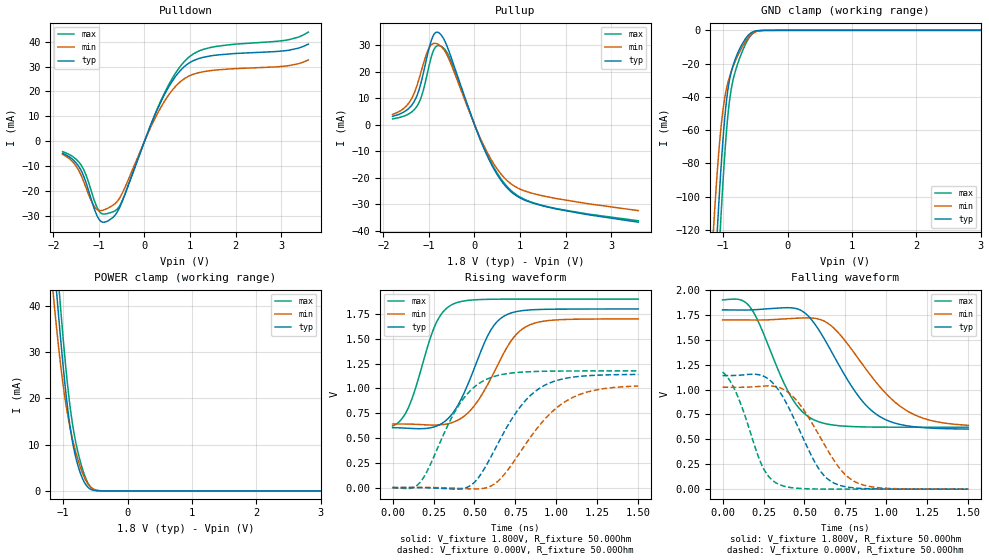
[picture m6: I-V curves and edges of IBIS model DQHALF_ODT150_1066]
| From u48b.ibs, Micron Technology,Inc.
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|MODEL DQHALF_ODT150_1066 (Reduced-Drv IO Drvr with 150-ohm ODT Submodel,800/1066)
[Model]   DQHALF_ODT150_1066
Model_type   I/O
Vinl = 700.000mV
Vinh = 1.10V
Vmeas = 900.000mV
Vref = 900.000mV
Cref = 0.0pF
Rref = 25.000Ohm
|   typ   min   max
C_comp   3.09pF   2.91pF   3.33pF
| Note: C_comp decreases when the ODT circuit is enabled.
[Model Spec]
| Input threshold voltage corners
Vinl   0.70V   0.650V   0.750V
Vinh   1.10V   1.05V   1.150V
| Measurement voltage corners
Vmeas   0.900V   0.850V   0.950V
| Timing spec test load voltage corners
Vref   0.900V   0.850V   0.950V
[Receiver Thresholds]
Vth   =  0.900V
Vth_min  =  0.882V
Vth_max  =  0.918V
Vinh_ac  =  0.200V
Vinh_dc  =  0.125V
Vinl_ac  = -0.200V
Vinl_dc  = -0.125V
Tslew_ac =  5.000ns |Not specified, so set to high value
Threshold_sensitivity = 0.50
Reference_supply Pullup_ref
[Voltage Range]   1.800V   1.700V   1.900V
[Pullup Reference]   1.800V   1.700V   1.900V
| Junction Temperature (Ambient temp is 25C typ, 85C min, 0C max)
[Temperature Range]   40.0   100.0   0.0
[Add Submodel]
| Submodel Name   Mode
150ohm_ODT_1066   Non-Driving
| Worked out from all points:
|   slope of the pulldown table from 0 to 0.27 V, typ, clamps not added: 22 ohm
|   slope of the pullup table from 0 to 0.27 V, typ, clamps not added: 23.7 ohm
|   GND clamp passes 1 mA (typ) near -0.54 V on its own axis
|   POWER clamp passes 1 mA (typ) near -0.63 V on its own axis
|   falling waveform, V_fixture 1.800V, R_fixture 50.00Ohm: 20-80 % time 274ps typ, 320ps min, 209ps max; typ from 1.8 V to 0.603 V
|   rising waveform, V_fixture 1.800V, R_fixture 50.00Ohm: 20-80 % time 188ps typ, 216ps min, 148ps max; typ from 0.603 V to 1.8 V
|   rising waveform, V_fixture 0.000V, R_fixture 50.00Ohm: 20-80 % time 258ps typ, 298ps min, 223ps max; typ from 0 V to 1.14 V
|   falling waveform, V_fixture 0.000V, R_fixture 50.00Ohm: 20-80 % time 205ps typ, 231ps min, 151ps max; typ from 1.14 V to 0 V
[Pulldown]
|   Voltage   I(typ)   I(min)   I(max)
-1.8V     -4.83mA    -5.264mA   -4.162mA
-1.4V     -11.48mA   -13.38mA   -9.375mA
-1.08V    -28.28mA   -26.76mA   -24.91mA
-960mV    -32.11mA   -27.84mA   -28.79mA
-830mV    -32.21mA   -27.08mA   -29.08mA
-510mV    -25.06mA   -21.64mA   -24.73mA
290mV     13.08mA    11.28mA    13.41mA
620mV     24.41mA    20.73mA    25.53mA
885mV     30.12mA    25.22mA    32.19mA
1.46V     34.29mA    28.38mA    37.69mA
3.095V    36.36mA    30.18mA    40.53mA
3.6V      39mA       32.63mA    43.82mA
[GND Clamp]
|   Voltage   I(typ)   I(min)   I(max)
-1.8V     -732.2mA   -653.2mA   -793.5mA
-1.15V    -163.6mA   -119.6mA   -201.6mA
-1.095V   -123.2mA   -87.04mA   -157.4mA
-1.08V    -112.7mA   -79.18mA   -145.9mA
-1.04V    -86.82mA   -60.98mA   -116.4mA
-1V       -64.38mA   -47.13mA   -89.59mA
-955mV    -44.8mA    -36.41mA   -64.06mA
-920mV    -34.11mA   -30.56mA   -48.74mA
-880mV    -25.98mA   -25.44mA   -36.67mA
-750mV    -11.65mA   -13.34mA   -17.4mA
-550mV    -1.151mA   -2.12mA    -2.194mA
3.6V      0A         0A         0A
[Pullup]
|   Voltage   I(typ)   I(min)   I(max)
-1.8V     3.119mA    3.847mA    2.154mA
-1.48V    5.592mA    7.369mA    3.728mA
-1.26V    11.1mA     14.96mA    7.081mA
-1.14V    18.21mA    22mA       12.01mA
-1.01V    28.03mA    28.53mA    21.35mA
-890mV    34.13mA    30.7mA     28.42mA
-790mV    34.78mA    30.25mA    29.86mA
-560mV    27.67mA    24.72mA    25.72mA
240mV     -10.31mA   -9.185mA   -9.955mA
740mV     -24.33mA   -21.5mA    -23.81mA
1.495V    -30.66mA   -26.87mA   -30.54mA
3.6V      -36.85mA   -32.48mA   -36.31mA
[POWER Clamp]
|   Voltage   I(typ)   I(min)   I(max)
-1.8V     174.6mA    152.7mA    190.2mA
-1.15V    51.11mA    41.91mA    59.19mA
-1.09V    40.94mA    33.55mA    48.23mA
-1.06V    36.07mA    29.7mA     42.94mA
-1.05V    34.49mA    28.47mA    41.22mA
-950mV    20.21mA    18.05mA    25.43mA
-900mV    14.59mA    14.13mA    19.05mA
-850mV    10.23mA    10.9mA     14.03mA
-720mV    3.389mA    4.604mA    5.675mA
-580mV    409.5uA    919.6uA    940.6uA
-390mV    3.406uA    23.22uA    5.527uA
3.6V      0A         0A         0A
[Ramp]
R_load = 50.00Ohm
|   typ   min   max
dV/dt_r   684.091mV/258.115ps 614.143mV/297.467ps 705.583mV/222.831ps
dV/dt_f   718.092mV/273.904ps 635.507mV/319.538ps 767.167mV/208.828ps
[Falling Waveform]
V_fixture = 1.800V
V_fixture_min = 1.700V
V_fixture_max = 1.900V
R_fixture = 50.00Ohm
|   Time   V(typ)   V(min)   V(max)
0s        1.8V       1.7V       1.9V
110ps     1.798V     1.699V     1.9V
170ps     1.8V       1.699V     1.824V
410ps     1.821V     1.712V     950.9mV
550ps     1.686V     1.718V     702.4mV
700ps     1.276V     1.582V     638.9mV
820ps     954.6mV    1.33V      626.9mV
940ps     749.8mV    1.067V     623.2mV
1.17ns    626.5mV    748mV      621.6mV
1.5ns     603.2mV    640.8mV    621.4mV
[Rising Waveform]
V_fixture = 1.800V
V_fixture_min = 1.700V
V_fixture_max = 1.900V
R_fixture = 50.00Ohm
|   Time   V(typ)   V(min)   V(max)
0s        603.2mV    640.8mV    621.4mV
90ps      598.4mV    640.2mV    782mV
250ps     610mV      629.9mV    1.597V
360ps     734.2mV    653.5mV    1.841V
500ps     1.207V     827.1mV    1.892V
600ps     1.589V     1.099V     1.898V
680ps     1.728V     1.359V     1.899V
770ps     1.778V     1.568V     1.9V
880ps     1.794V     1.663V     1.9V
1.5ns     1.8V       1.7V       1.9V
[Rising Waveform]
V_fixture = 0.000V
V_fixture_min = 0.000V
V_fixture_max = 0.000V
R_fixture = 50.00Ohm
|   Time   V(typ)   V(min)   V(max)
0s        -4.176uV   -5.098uV   -4.199uV
170ps     -37.67uV   1.171mV    56.53mV
400ps     -15.99mV   -7.313mV   818.6mV
480ps     25.22mV    -13.48mV   985.7mV
570ps     218.5mV    -2.741mV   1.089V
660ps     496.5mV    91.73mV    1.137V
760ps     771.3mV    310.8mV    1.16V
900ps     1.004V     633.9mV    1.171V
1.14ns    1.121V     936.9mV    1.175V
1.5ns     1.14V      1.024V     1.176V
[Falling Waveform]
V_fixture = 0.000V
V_fixture_min = 0.000V
V_fixture_max = 0.000V
R_fixture = 50.00Ohm
|   Time   V(typ)   V(min)   V(max)
0s        1.14V      1.024V     1.176V
90ps      1.143V     1.023V     941.6mV
250ps     1.134V     1.035V     206.4mV
340ps     998.9mV    1.023V     51.18mV
450ps     660.3mV    893.9mV    9.876mV
580ps     223.3mV    566.6mV    1.709mV
680ps     61.31mV    289.1mV    520.4uV
770ps     19.16mV    115.8mV    202.5uV
880ps     5.217mV    33.03mV    74.79uV
1.5ns     -4.176uV   -5.098uV   -4.199uV
